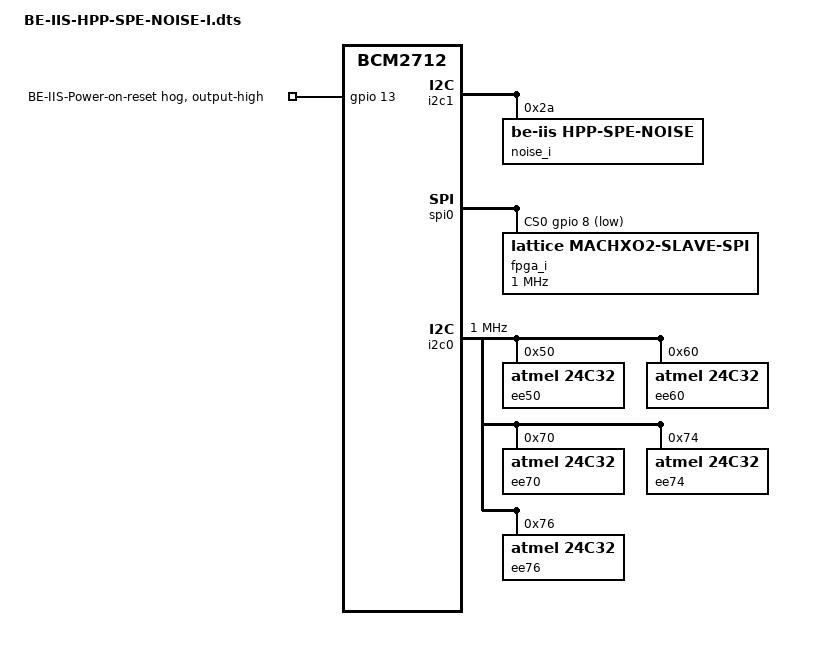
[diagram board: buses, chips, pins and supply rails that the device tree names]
// SPDX-License-Identifier: GPL-2.0-only
/dts-v1/;
/plugin/;

/ {
	compatible = "brcm,bcm2835", "brcm,bcm2711", "brcm,bcm2712";

	/* HAT++ user I2C bus: FPGA noise-generator instance. */
	fragment@0 {
		target = <&i2c1>;
		__overlay__ {
			#address-cells = <1>;
			#size-cells = <0>;
			status = "okay";

			noise_i: noise-generator@2a {
				compatible = "be-iis,hpp-spe-noise";
				reg = <0x2a>;
				status = "okay";
			};
		};
	};

	/* HAT++ shared SPI0 fabric: reserve CE0, CE1 and CE2 for stacked HATs. */
	fragment@1 {
		target = <&spi0>;
		__overlay__ {
			#address-cells = <1>;
			#size-cells = <0>;
			status = "okay";
			num-cs = <3>;
			cs-gpios = <&gpio 8 1>, <&gpio 7 1>, <&gpio 16 1>;

			fpga_i: fpga@0 {
				compatible = "lattice,machxo2-slave-spi";
				reg = <0>;
				spi-max-frequency = <1000000>;
				status = "okay";
			};
		};
	};

	/* Linux FPGA region for the MachXO2 at SPI0 CE0. */
	fragment@4 {
		target-path = "/";
		__overlay__ {
			fpga_region: fpga-region {
				compatible = "fpga-region";
				fpga-mgr = <&fpga_i>;
				status = "okay";
			};
		};
	};

	/* CE0 is the MachXO2 Slave-SPI FPGA manager; CE1 remains reserved. */
	fragment@2 { target = <&spidev0>; __overlay__ { status = "disabled"; }; };
	fragment@3 { target = <&spidev1>; __overlay__ { status = "disabled"; }; };

	/* HAT++ descriptor EEPROMs on the ID bus. */
	fragment@9 {
		target = <&i2c0>;
		__overlay__ {
			#address-cells = <1>;
			#size-cells = <0>;
			clock-frequency = <1000000>;

			ee50: eeprom@50 { compatible = "atmel,24c32"; reg = <0x50>; status = "okay"; };
			ee60: eeprom@60 { compatible = "atmel,24c32"; reg = <0x60>; status = "okay"; };
			ee70: eeprom@70 { compatible = "atmel,24c32"; reg = <0x70>; status = "okay"; };
			ee74: eeprom@74 { compatible = "atmel,24c32"; reg = <0x74>; status = "okay"; };
			ee76: eeprom@76 { compatible = "atmel,24c32"; reg = <0x76>; status = "okay"; };
		};
	};

	/* HAT++ power-on-reset: release the stacked HATs. */
	fragment@10 {
		target = <&gpio>;
		__overlay__ {
			be_iis_porst: be-iis-porst {
				gpio-hog;
				gpios = <13 0>;
				output-high;
				line-name = "BE-IIS-Power-on-reset";
			};
		};
	};
};
